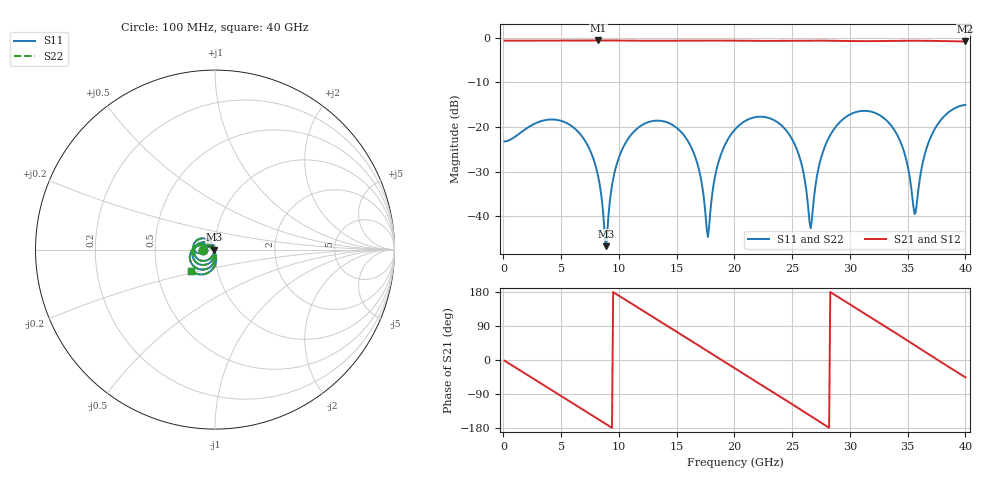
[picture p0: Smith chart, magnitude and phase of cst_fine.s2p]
! thru_s8x2_L3: 2×thru, L3, 8 mm
! stackup: 8-layer 1.6 mm FR-4 without the L2 plane
! ports: 1, 2
! CST Studio Suite 2025.5 Release from 2025-05-30, time domain (FIT, hexahedral, PBA), 224000 mesh cells, 41 s
! mesh: {'lpw': 30.0, 'lpb': 30.0, 'minstep': 0.0, 'ratio': 20}; ports: port 1 (face); port 2 (face)
! interpolated from CST's 1001 samples to the case grid
# Hz S RI R 50
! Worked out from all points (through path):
!   400 points, 100 MHz to 40 GHz, reference 50 ohm
!   highest |S21| = -0.57 dB at 8.2 GHz (marker M1); lowest = -0.8 dB at 40 GHz (marker M2)
!   group delay of S21, straight-line fit = 53.2 ps
!   lowest |S11| = -46.7 dB at 8.9 GHz (marker M3), VSWR 1.01, Z = 49.6 - j0.113 ohm
!   |S11| at or under -10 dB: start of sweep to end of sweep
!   |S22| runs from -46.7 to -15.0 dB; largest |S21 - S12| = 5e-07
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1e8  -0.0689 -0.00172  0.9305 -0.0309  0.9305 -0.0309  -0.0689 -0.00172
3.7e9  -0.1198 0.00888  0.3145 -0.8755  0.3145 -0.8755  -0.1198 0.00888
6.8e9  -0.0505 0.0604  -0.5906 -0.7248  -0.5906 -0.7248  -0.0505 0.0604
8.2e9  -0.0105 0.0259  -0.8552 -0.3809  -0.8552 -0.3809  -0.0105 0.0259
8.9e9  -0.00446 -0.00114  -0.92 -0.1719  -0.92 -0.1719  -0.00446 -0.00114
9.4e9  -0.00753 -0.0208  -0.9352 -0.0164  -0.9352 -0.0164  -0.00753 -0.0208
1.02e10  -0.0243 -0.0472  -0.9049 0.2307  -0.9049 0.2307  -0.0243 -0.0472
1.34e10  -0.1168 -0.0173  -0.2393 0.8978  -0.2393 0.8978  -0.1168 -0.0173
1.64e10  -0.04 0.0365  0.6283 0.6914  0.6283 0.6914  -0.04 0.0365
1.77e10  -0.0055 -0.00195  0.8624 0.3609  0.8624 0.3609  -0.0055 -0.00195
1.85e10  -0.00403 -0.0352  0.9263 0.1186  0.9263 0.1186  -0.00403 -0.0352
2.01e10  -0.0476 -0.0828  0.853 -0.369  0.853 -0.369  -0.0476 -0.0828
2.45e10  -0.0868 0.0278  -0.2737 -0.8886  -0.2737 -0.8886  -0.0868 0.0278
2.57e10  -0.0355 0.0247  -0.6028 -0.7119  -0.6028 -0.7119  -0.0355 0.0247
2.67e10  -0.00421 -0.00785  -0.8055 -0.4716  -0.8055 -0.4716  -0.00421 -0.00785
2.74e10  0.00239 -0.0401  -0.8928 -0.2689  -0.8928 -0.2689  0.00239 -0.0401
2.88e10  -0.0283 -0.0976  -0.9124 0.1657  -0.9124 0.1657  -0.0283 -0.0976
3.34e10  -0.1096 0.0144  0.1287 0.9158  0.1287 0.9158  -0.1096 0.0144
3.48e10  -0.0422 0.0207  0.535 0.7601  0.535 0.7601  -0.0422 0.0207
3.56e10  -0.00943 -0.00472  0.7206 0.5882  0.7206 0.5882  -0.00943 -0.00472
3.71e10  0.00171 -0.0825  0.9121 0.1594  0.9121 0.1594  0.00171 -0.0825
4e10  -0.1324 -0.1183  0.6369 -0.6529  0.6369 -0.6529  -0.1324 -0.1183
